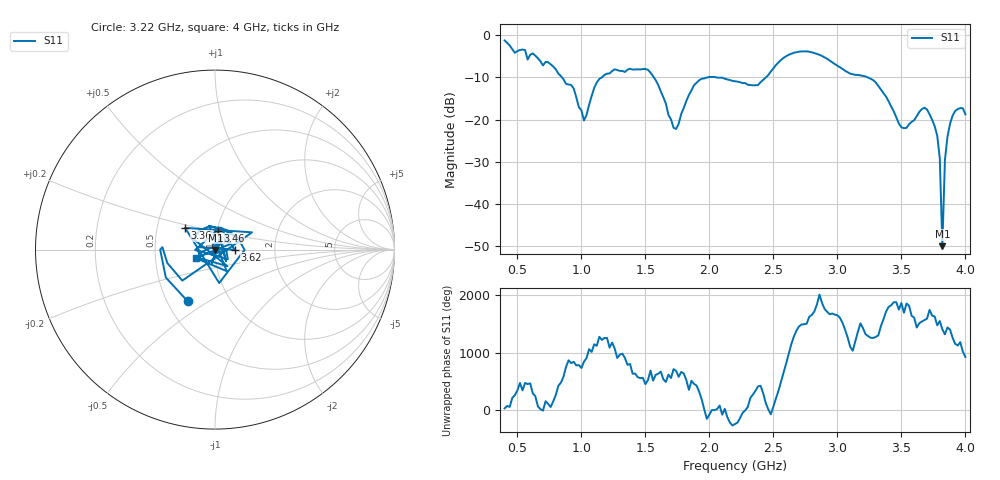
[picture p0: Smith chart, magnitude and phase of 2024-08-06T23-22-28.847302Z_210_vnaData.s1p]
!Created with skrf (http://scikit-rf.org).
# Hz S RI R 50.0
!freq ReS11 ImS11
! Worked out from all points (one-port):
!   181 points, 400 MHz to 4 GHz, reference 50 ohm
!   lowest |S11| = -50.1 dB at 3.82 GHz (marker M1), VSWR 1.01, Z = 50.3 - j0.162 ohm
!   |S11| at or under -10 dB: 1.566 GHz to 1.983 GHz (416.1 MHz wide, 23.4 % of centre); 2.058 GHz to 2.441 GHz (383 MHz wide, 17 % of centre); 3.238 GHz to end of sweep (the widest 3 of 4)
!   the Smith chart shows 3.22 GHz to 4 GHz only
!   S11 on the Smith chart (normalised r, x): 3.22 GHz: 0.63, -0.41; 3.36 GHz: 0.70, +0.18; 3.46 GHz: 1.01, +0.22; 3.62 GHz: 1.25, -0.00; 4 GHz: 0.81, -0.08
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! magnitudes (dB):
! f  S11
! 400 MHz  -1.2
! 860 MHz  -10.4
! 940 MHz  -12.6
! 1.02 GHz  -20.2
! 1.14 GHz  -10.3
! 1.3 GHz  -8.4
! 1.52 GHz  -8.2
! 1.6 GHz  -11.8
! 1.72 GHz  -22.0
! 1.76 GHz  -21.0
! 1.92 GHz  -10.7
! 2.2 GHz  -10.9
! 2.38 GHz  -11.8
! 2.66 GHz  -4.1
! 3.1 GHz  -9.1
! 3.22 GHz  -9.8
! 3.36 GHz  -13.7
! 3.46 GHz  -19.4
! 3.56 GHz  -21.1
! 3.62 GHz  -19.2
! 3.7 GHz  -17.6
! 3.78 GHz  -23.8
! 3.8 GHz  -29.2
! 3.82 GHz  -50.1
! 3.84 GHz  -29.6
! 3.86 GHz  -24.1
! 3.92 GHz  -18.0
! 4 GHz  -18.8
